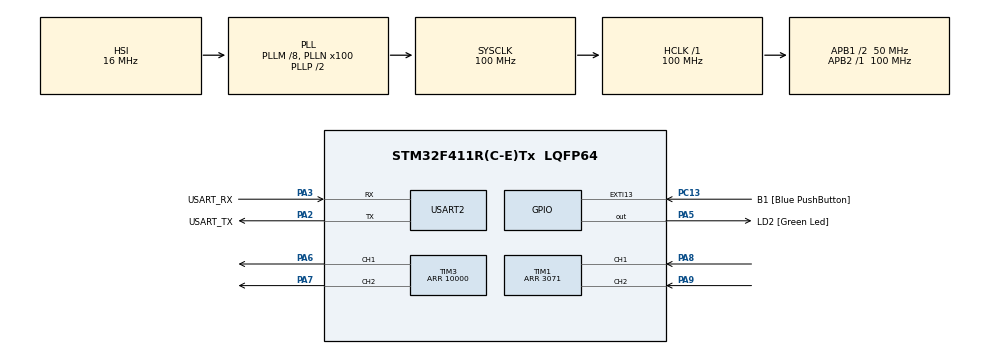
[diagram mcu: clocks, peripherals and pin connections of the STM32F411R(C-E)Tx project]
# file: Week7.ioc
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Mcu.Family=STM32F4
Mcu.Name=STM32F411R(C-E)Tx
Mcu.Package=LQFP64
NVIC.PriorityGroup=NVIC_PRIORITYGROUP_0
NVIC.TIM2_IRQn=true\:0\:0\:false\:false\:true\:true\:true
PA13.GPIO_Label=TMS
PA13.Mode=Serial_Wire
PA13.Signal=SYS_JTMS-SWDIO
PA14.GPIO_Label=TCK
PA14.Mode=Serial_Wire
PA14.Signal=SYS_JTCK-SWCLK
PA2.GPIO_Label=USART_TX
PA2.Mode=Asynchronous
PA2.Signal=USART2_TX
PA3.GPIO_Label=USART_RX
PA3.Mode=Asynchronous
PA3.Signal=USART2_RX
PA5.GPIO_Label=LD2 [Green Led]
PA5.Signal=GPIO_Output
PA6.Signal=S_TIM3_CH1
PA7.Signal=S_TIM3_CH2
PA8.Signal=S_TIM1_CH1
PA9.Signal=S_TIM1_CH2
PB3.GPIO_Label=SWO
PB3.Signal=SYS_JTDO-SWO
PC13-ANTI_TAMP.GPIO_Label=B1 [Blue PushButton]
PC13-ANTI_TAMP.GPIO_ModeDefaultEXTI=GPIO_MODE_IT_FALLING
PC13-ANTI_TAMP.Signal=GPXTI13
PC14-OSC32_IN.Mode=LSE-External-Oscillator
PC14-OSC32_IN.Signal=RCC_OSC32_IN
PC15-OSC32_OUT.Mode=LSE-External-Oscillator
PC15-OSC32_OUT.Signal=RCC_OSC32_OUT
PH0\ -\ OSC_IN.Mode=HSE-External-Clock-Source
PH0\ -\ OSC_IN.Signal=RCC_OSC_IN
PH1\ -\ OSC_OUT.Mode=HSE-External-Clock-Source
PH1\ -\ OSC_OUT.Signal=RCC_OSC_OUT
ProjectManager.HeapSize=0x200
ProjectManager.StackSize=0x400
ProjectManager.TargetToolchain=STM32CubeIDE
RCC.48MHZClocksFreq_Value=50000000
RCC.AHBFreq_Value=100000000
RCC.APB1CLKDivider=RCC_HCLK_DIV2
RCC.APB1Freq_Value=50000000
RCC.APB1TimFreq_Value=100000000
RCC.APB2Freq_Value=100000000
RCC.APB2TimFreq_Value=100000000
RCC.CortexFreq_Value=100000000
RCC.FLatency-AdvancedSettings=FLASH_LATENCY_3
RCC.HCLKFreq_Value=100000000
RCC.HSE_VALUE=8000000
RCC.HSI_VALUE=16000000
RCC.PLLM=8
RCC.PLLN=100
RCC.SYSCLKFreq_VALUE=100000000
RCC.SYSCLKSource=RCC_SYSCLKSOURCE_PLLCLK
RCC.VCOOutputFreq_Value=200000000
SH.S_TIM1_CH1.0=TIM1_CH1,Encoder_Interface
SH.S_TIM1_CH2.0=TIM1_CH2,Encoder_Interface
SH.S_TIM3_CH1.0=TIM3_CH1,PWM Generation1 CH1
SH.S_TIM3_CH2.0=TIM3_CH2,PWM Generation2 CH2
TIM1.EncoderMode=TIM_ENCODERMODE_TI12
TIM1.Period=3071
TIM2.Prescaler=99
TIM3.Channel-PWM\ Generation1\ CH1=TIM_CHANNEL_1
TIM3.Channel-PWM\ Generation2\ CH2=TIM_CHANNEL_2
TIM3.Period=10000
TIM3.Pulse-PWM\ Generation1\ CH1=5000
TIM3.Pulse-PWM\ Generation2\ CH2=5000
USART2.VirtualMode=VM_ASYNC
VP_TIM2_VS_ClockSourceINT.Mode=Internal
VP_TIM3_VS_ClockSourceINT.Mode=Internal
board=NUCLEO-F411RE

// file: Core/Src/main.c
/* USER CODE BEGIN Header */
/**
 ******************************************************************************
 * @file           : main.c
 * @brief          : Main program body
 ******************************************************************************
 * @attention
 *
 * <h2><center>&copy; Copyright (c) 2021 STMicroelectronics.
 * All rights reserved.</center></h2>
 *
 * This software component is licensed by ST under BSD 3-Clause license,
 * the "License"; You may not use this file except in compliance with the
 * License. You may obtain a copy of the License at:
 *                        opensource.org/licenses/BSD-3-Clause
 *
 ******************************************************************************
 */
/* USER CODE END Header */
#include "main.h"

TIM_HandleTypeDef htim1;
TIM_HandleTypeDef htim2;
TIM_HandleTypeDef htim3;

UART_HandleTypeDef huart2;

/* USER CODE BEGIN PV */
uint64_t _micros = 0;
float EncoderVel = 0;
uint64_t Timestamp_Encoder = 0;

uint16_t PWMOut = 3000;
int setpoint= 15;
int setpointabs =0;
float rpm =0;
/* USER CODE END PV */

void SystemClock_Config(void);
static void MX_GPIO_Init(void);
static void MX_USART2_UART_Init(void);
static void MX_TIM1_Init(void);
static void MX_TIM2_Init(void);
static void MX_TIM3_Init(void);
/* USER CODE BEGIN PFP */
uint64_t micros();
float EncoderVelocity_Update();

/* USER CODE END PFP */

int main(void)
{

  /* MCU Configuration--------------------------------------------------------*/

  /* Reset of all peripherals, Initializes the Flash interface and the Systick. */
 HAL_Init();

  /* Configure the system clock */
  SystemClock_Config();

  /* Initialize all configured peripherals */
  MX_GPIO_Init();
  MX_USART2_UART_Init();
  MX_TIM1_Init();
  MX_TIM2_Init();
  MX_TIM3_Init();
  /* USER CODE BEGIN 2 */
	HAL_TIM_Base_Start_IT(&htim2);
	HAL_TIM_Encoder_Start(&htim1, TIM_CHANNEL_ALL);

	// PWM
	HAL_TIM_Base_Start(&htim3);
		HAL_TIM_PWM_Start(&htim3, TIM_CHANNEL_1);
		HAL_TIM_PWM_Start(&htim3, TIM_CHANNEL_2);

  /* USER CODE END 2 */

  /* Infinite loop */
	while (1)
	{

    /* USER CODE BEGIN 3 */

		//RAW Read 1KHz/1ms
//		if (micros() - Timestamp_Encoder >= 1000)
//		{
//			Timestamp_Encoder = micros();
//		EncoderVel = EncoderVelocity_Update();
//	}

		//Add LPF?
		if (micros() - Timestamp_Encoder >= 1000)
		{
			Timestamp_Encoder = micros();
			EncoderVel = (EncoderVel * 99 + (EncoderVelocity_Update()/12/64/4*60)) / 100.0;
			rpm = EncoderVel;
//			if(EncoderVel < 0 )
//			{
//				rpm = -1*EncoderVel;
//			}
//			else
//			{
//				rpm = EncoderVel;
//			}
			if(setpoint==0)
				{
				__HAL_TIM_SET_COMPARE(&htim3, TIM_CHANNEL_1, 1);
				__HAL_TIM_SET_COMPARE(&htim3, TIM_CHANNEL_2, 1);
					//setpointabs = setpoint*-1;
				}
			else if(setpoint>0)
			{

				float Position_KP=100,Position_KI=1,Position_KD=10;
					static float Bias,Integral_bias,Last_Bias;
					Bias=setpoint-EncoderVel ;                        //Calculate the deviation
					Integral_bias+=Bias;	          //Find the integral of the deviation
					PWMOut=Position_KP*Bias+Position_KI*Integral_bias+Position_KD*(Bias-Last_Bias);   //Position PID controller
					Last_Bias=Bias;

					__HAL_TIM_SET_COMPARE(&htim3, TIM_CHANNEL_1,PWMOut);
					__HAL_TIM_SET_COMPARE(&htim3, TIM_CHANNEL_2, 0);

			}
			else if(setpoint<0)
						{
					rpm = -1*EncoderVel;
					setpointabs=-1*setpoint;

							float Position_KP=100,Position_KI=1,Position_KD=10;
								static float Bias,Integral_bias,Last_Bias;
								Bias=setpointabs-rpm ;                        //Calculate the deviation
								Integral_bias+=Bias;	          //Find the integral of the deviation
								PWMOut=Position_KP*Bias+Position_KI*Integral_bias+Position_KD*(Bias-Last_Bias);   //Position PID controller
								Last_Bias=Bias;

								__HAL_TIM_SET_COMPARE(&htim3, TIM_CHANNEL_1,0);
								__HAL_TIM_SET_COMPARE(&htim3, TIM_CHANNEL_2, PWMOut);

						}

		}

	}
  /* USER CODE END 3 */
}

void SystemClock_Config(void)
{
  RCC_OscInitTypeDef RCC_OscInitStruct = {0};
  RCC_ClkInitTypeDef RCC_ClkInitStruct = {0};

  /** Configure the main internal regulator output voltage
  */
  __HAL_RCC_PWR_CLK_ENABLE();
  __HAL_PWR_VOLTAGESCALING_CONFIG(PWR_REGULATOR_VOLTAGE_SCALE1);
  /** Initializes the RCC Oscillators according to the specified parameters
  * in the RCC_OscInitTypeDef structure.
  */
  RCC_OscInitStruct.OscillatorType = RCC_OSCILLATORTYPE_HSI;
  RCC_OscInitStruct.HSIState = RCC_HSI_ON;
  RCC_OscInitStruct.HSICalibrationValue = RCC_HSICALIBRATION_DEFAULT;
  RCC_OscInitStruct.PLL.PLLState = RCC_PLL_ON;
  RCC_OscInitStruct.PLL.PLLSource = RCC_PLLSOURCE_HSI;
  RCC_OscInitStruct.PLL.PLLM = 8;
  RCC_OscInitStruct.PLL.PLLN = 100;
  RCC_OscInitStruct.PLL.PLLP = RCC_PLLP_DIV2;
  RCC_OscInitStruct.PLL.PLLQ = 4;
  if (HAL_RCC_OscConfig(&RCC_OscInitStruct) != HAL_OK)
  {
    Error_Handler();
  }
  /** Initializes the CPU, AHB and APB buses clocks
  */
  RCC_ClkInitStruct.ClockType = RCC_CLOCKTYPE_HCLK|RCC_CLOCKTYPE_SYSCLK
                              |RCC_CLOCKTYPE_PCLK1|RCC_CLOCKTYPE_PCLK2;
  RCC_ClkInitStruct.SYSCLKSource = RCC_SYSCLKSOURCE_PLLCLK;
  RCC_ClkInitStruct.AHBCLKDivider = RCC_SYSCLK_DIV1;
  RCC_ClkInitStruct.APB1CLKDivider = RCC_HCLK_DIV2;
  RCC_ClkInitStruct.APB2CLKDivider = RCC_HCLK_DIV1;

  if (HAL_RCC_ClockConfig(&RCC_ClkInitStruct, FLASH_LATENCY_3) != HAL_OK)
  {
    Error_Handler();
  }
}

static void MX_TIM1_Init(void)
{

  TIM_Encoder_InitTypeDef sConfig = {0};
  TIM_MasterConfigTypeDef sMasterConfig = {0};

  htim1.Instance = TIM1;
  htim1.Init.Prescaler = 0;
  htim1.Init.CounterMode = TIM_COUNTERMODE_UP;
  htim1.Init.Period = 3071;
  htim1.Init.ClockDivision = TIM_CLOCKDIVISION_DIV1;
  htim1.Init.RepetitionCounter = 0;
  htim1.Init.AutoReloadPreload = TIM_AUTORELOAD_PRELOAD_DISABLE;
  sConfig.EncoderMode = TIM_ENCODERMODE_TI12;
  sConfig.IC1Polarity = TIM_ICPOLARITY_RISING;
  sConfig.IC1Selection = TIM_ICSELECTION_DIRECTTI;
  sConfig.IC1Prescaler = TIM_ICPSC_DIV1;
  sConfig.IC1Filter = 0;
  sConfig.IC2Polarity = TIM_ICPOLARITY_RISING;
  sConfig.IC2Selection = TIM_ICSELECTION_DIRECTTI;
  sConfig.IC2Prescaler = TIM_ICPSC_DIV1;
  sConfig.IC2Filter = 0;
  if (HAL_TIM_Encoder_Init(&htim1, &sConfig) != HAL_OK)
  {
    Error_Handler();
  }
  sMasterConfig.MasterOutputTrigger = TIM_TRGO_RESET;
  sMasterConfig.MasterSlaveMode = TIM_MASTERSLAVEMODE_DISABLE;
  if (HAL_TIMEx_MasterConfigSynchronization(&htim1, &sMasterConfig) != HAL_OK)
  {
    Error_Handler();
  }

}

static void MX_TIM2_Init(void)
{

  TIM_ClockConfigTypeDef sClockSourceConfig = {0};
  TIM_MasterConfigTypeDef sMasterConfig = {0};

  htim2.Instance = TIM2;
  htim2.Init.Prescaler = 99;
  htim2.Init.CounterMode = TIM_COUNTERMODE_UP;
  htim2.Init.Period = 4294967295;
  htim2.Init.ClockDivision = TIM_CLOCKDIVISION_DIV1;
  htim2.Init.AutoReloadPreload = TIM_AUTORELOAD_PRELOAD_DISABLE;
  if (HAL_TIM_Base_Init(&htim2) != HAL_OK)
  {
    Error_Handler();
  }
  sClockSourceConfig.ClockSource = TIM_CLOCKSOURCE_INTERNAL;
  if (HAL_TIM_ConfigClockSource(&htim2, &sClockSourceConfig) != HAL_OK)
  {
    Error_Handler();
  }
  sMasterConfig.MasterOutputTrigger = TIM_TRGO_RESET;
  sMasterConfig.MasterSlaveMode = TIM_MASTERSLAVEMODE_DISABLE;
  if (HAL_TIMEx_MasterConfigSynchronization(&htim2, &sMasterConfig) != HAL_OK)
  {
    Error_Handler();
  }

}

static void MX_TIM3_Init(void)
{

  TIM_ClockConfigTypeDef sClockSourceConfig = {0};
  TIM_MasterConfigTypeDef sMasterConfig = {0};
  TIM_OC_InitTypeDef sConfigOC = {0};

  htim3.Instance = TIM3;
  htim3.Init.Prescaler = 0;
  htim3.Init.CounterMode = TIM_COUNTERMODE_UP;
  htim3.Init.Period = 10000;
  htim3.Init.ClockDivision = TIM_CLOCKDIVISION_DIV1;
  htim3.Init.AutoReloadPreload = TIM_AUTORELOAD_PRELOAD_DISABLE;
  if (HAL_TIM_Base_Init(&htim3) != HAL_OK)
  {
    Error_Handler();
  }
  sClockSourceConfig.ClockSource = TIM_CLOCKSOURCE_INTERNAL;
  if (HAL_TIM_ConfigClockSource(&htim3, &sClockSourceConfig) != HAL_OK)
  {
    Error_Handler();
  }
  if (HAL_TIM_PWM_Init(&htim3) != HAL_OK)
  {
    Error_Handler();
  }
  sMasterConfig.MasterOutputTrigger = TIM_TRGO_RESET;
  sMasterConfig.MasterSlaveMode = TIM_MASTERSLAVEMODE_DISABLE;
  if (HAL_TIMEx_MasterConfigSynchronization(&htim3, &sMasterConfig) != HAL_OK)
  {
    Error_Handler();
  }
  sConfigOC.OCMode = TIM_OCMODE_PWM1;
  sConfigOC.Pulse = 5000;
  sConfigOC.OCPolarity = TIM_OCPOLARITY_HIGH;
  sConfigOC.OCFastMode = TIM_OCFAST_DISABLE;
  if (HAL_TIM_PWM_ConfigChannel(&htim3, &sConfigOC, TIM_CHANNEL_1) != HAL_OK)
  {
    Error_Handler();
  }
  if (HAL_TIM_PWM_ConfigChannel(&htim3, &sConfigOC, TIM_CHANNEL_2) != HAL_OK)
  {
    Error_Handler();
  }
  HAL_TIM_MspPostInit(&htim3);

}

static void MX_USART2_UART_Init(void)
{

  huart2.Instance = USART2;
  huart2.Init.BaudRate = 115200;
  huart2.Init.WordLength = UART_WORDLENGTH_8B;
  huart2.Init.StopBits = UART_STOPBITS_1;
  huart2.Init.Parity = UART_PARITY_NONE;
  huart2.Init.Mode = UART_MODE_TX_RX;
  huart2.Init.HwFlowCtl = UART_HWCONTROL_NONE;
  huart2.Init.OverSampling = UART_OVERSAMPLING_16;
  if (HAL_UART_Init(&huart2) != HAL_OK)
  {
    Error_Handler();
  }

}

static void MX_GPIO_Init(void)
{
  GPIO_InitTypeDef GPIO_InitStruct = {0};

  /* GPIO Ports Clock Enable */
  __HAL_RCC_GPIOC_CLK_ENABLE();
  __HAL_RCC_GPIOH_CLK_ENABLE();
  __HAL_RCC_GPIOA_CLK_ENABLE();
  __HAL_RCC_GPIOB_CLK_ENABLE();

  /*Configure GPIO pin Output Level */
  HAL_GPIO_WritePin(LD2_GPIO_Port, LD2_Pin, GPIO_PIN_RESET);

  /*Configure GPIO pin : B1_Pin */
  GPIO_InitStruct.Pin = B1_Pin;
  GPIO_InitStruct.Mode = GPIO_MODE_IT_FALLING;
  GPIO_InitStruct.Pull = GPIO_NOPULL;
  HAL_GPIO_Init(B1_GPIO_Port, &GPIO_InitStruct);

  /*Configure GPIO pin : LD2_Pin */
  GPIO_InitStruct.Pin = LD2_Pin;
  GPIO_InitStruct.Mode = GPIO_MODE_OUTPUT_PP;
  GPIO_InitStruct.Pull = GPIO_NOPULL;
  GPIO_InitStruct.Speed = GPIO_SPEED_FREQ_LOW;
  HAL_GPIO_Init(LD2_GPIO_Port, &GPIO_InitStruct);

}

/* USER CODE BEGIN 4 */
#define  HTIM_ENCODER htim1
#define  MAX_SUBPOSITION_OVERFLOW 1536
#define  MAX_ENCODER_PERIOD 3072

float EncoderVelocity_Update() // �?วามเร�?วเ�?ิ�?มุม
{
	//Save Last state
	static uint32_t EncoderLastPosition = 0;
	static uint64_t EncoderLastTimestamp = 0;

	//read data
	uint32_t EncoderNowPosition = HTIM_ENCODER.Instance->CNT;
	uint64_t EncoderNowTimestamp = micros();

	int32_t EncoderPositionDiff;
	uint64_t EncoderTimeDiff;

	EncoderTimeDiff = EncoderNowTimestamp - EncoderLastTimestamp; // dt
	EncoderPositionDiff = EncoderNowPosition - EncoderLastPosition; // dp

	//compensate overflow and underflow
	if (EncoderPositionDiff >= MAX_SUBPOSITION_OVERFLOW)
	{
		EncoderPositionDiff -= MAX_ENCODER_PERIOD;
	}
	else if (-EncoderPositionDiff >= MAX_SUBPOSITION_OVERFLOW)
	{
		EncoderPositionDiff += MAX_ENCODER_PERIOD;
	}

	//Update Position and time
	EncoderLastPosition = EncoderNowPosition;
	EncoderLastTimestamp = EncoderNowTimestamp;

	//Calculate velocity
	//EncoderTimeDiff is in uS
	return (EncoderPositionDiff * 1000000) / (float) EncoderTimeDiff;

}

void HAL_TIM_PeriodElapsedCallback(TIM_HandleTypeDef *htim)
{
	if (htim == &htim2)
	{
		_micros += 4294967295;
	}
}

uint64_t micros()
{
	return _micros + htim2.Instance->CNT;
}
/* USER CODE END 4 */

void Error_Handler(void)
{
	__disable_irq();
	while (1)
	{
	}
}

/************************ (C) COPYRIGHT STMicroelectronics *****END OF FILE****/
